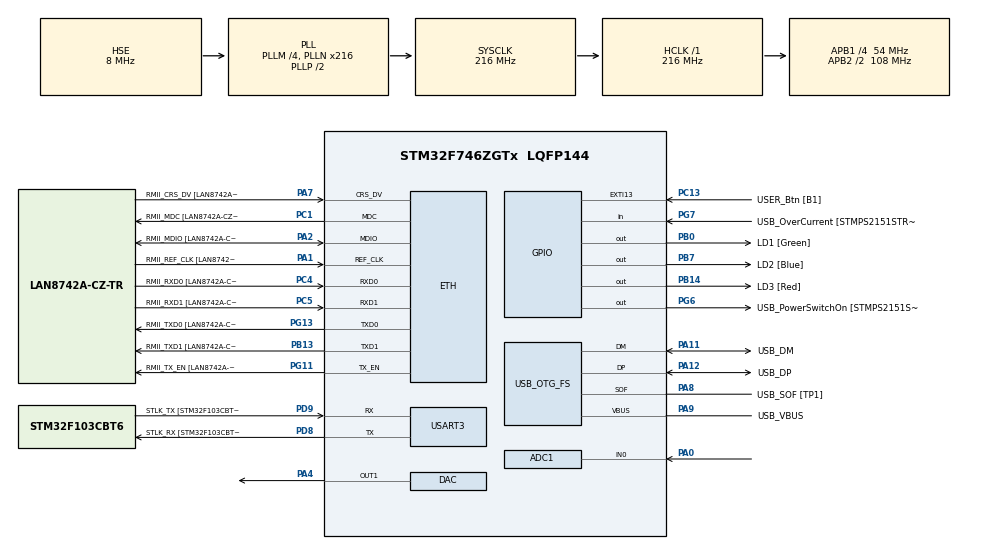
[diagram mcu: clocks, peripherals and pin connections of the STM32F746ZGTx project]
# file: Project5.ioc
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ADC1.Channel-0\#ChannelRegularConversion=ADC_CHANNEL_0
ADC1.NbrOfConversionFlag=1
ADC1.Rank-0\#ChannelRegularConversion=1
ADC1.SamplingTime-0\#ChannelRegularConversion=ADC_SAMPLETIME_3CYCLES
ADC1.master=1
ETH.MediaInterface=HAL_ETH_RMII_MODE
ETH.PHY_Name=LAN8742A_PHY_ADDRESS
ETH.PHY_Value=0
ETH.PhyAddress=0
Mcu.Family=STM32F7
Mcu.Name=STM32F746ZGTx
Mcu.Package=LQFP144
NVIC.EXTI15_10_IRQn=true\:0\:0\:false\:false\:true\:true\:true\:true
NVIC.PriorityGroup=NVIC_PRIORITYGROUP_4
NVIC.USART3_IRQn=true\:0\:0\:false\:false\:true\:true\:true\:true
PA0/WKUP.Signal=ADCx_IN0
PA1.GPIO_Label=RMII_REF_CLK [LAN8742A-CZ-TR_REFCLK0]
PA1.Mode=RMII
PA1.Signal=ETH_REF_CLK
PA10.GPIO_Label=USB_ID
PA10.Signal=USB_OTG_FS_ID
PA11.GPIO_Label=USB_DM
PA11.Mode=Device_Only
PA11.Signal=USB_OTG_FS_DM
PA12.GPIO_Label=USB_DP
PA12.Mode=Device_Only
PA12.Signal=USB_OTG_FS_DP
PA13.GPIO_Label=TMS
PA13.Mode=Serial_Wire
PA13.Signal=SYS_JTMS-SWDIO
PA14.GPIO_Label=TCK
PA14.Mode=Serial_Wire
PA14.Signal=SYS_JTCK-SWCLK
PA2.GPIO_Label=RMII_MDIO [LAN8742A-CZ-TR_MDIO]
PA2.Mode=RMII
PA2.Signal=ETH_MDIO
PA4.Signal=COMP_DAC1_group
PA7.GPIO_Label=RMII_CRS_DV [LAN8742A-CZ-TR_CRS_DV]
PA7.Mode=RMII
PA7.Signal=ETH_CRS_DV
PA8.GPIO_Label=USB_SOF [TP1]
PA8.Mode=Activate_SOF_FS
PA8.Signal=USB_OTG_FS_SOF
PA9.GPIO_Label=USB_VBUS
PA9.Mode=Activate_VBUS
PA9.Signal=USB_OTG_FS_VBUS
PB0.GPIO_Label=LD1 [Green]
PB0.Signal=GPIO_Output
PB13.GPIO_Label=RMII_TXD1 [LAN8742A-CZ-TR_TXD1]
PB13.Mode=RMII
PB13.Signal=ETH_TXD1
PB14.GPIO_Label=LD3 [Red]
PB14.Signal=GPIO_Output
PB3.GPIO_Label=SW0
PB3.Signal=SYS_JTDO-SWO
PB7.GPIO_Label=LD2 [Blue]
PB7.Signal=GPIO_Output
PC1.GPIO_Label=RMII_MDC [LAN8742A-CZ-TR_MDC]
PC1.Mode=RMII
PC1.Signal=ETH_MDC
PC13.GPIO_Label=USER_Btn [B1]
PC13.Signal=GPXTI13
PC14/OSC32_IN.Mode=LSE-External-Oscillator
PC14/OSC32_IN.Signal=RCC_OSC32_IN
PC15/OSC32_OUT.Mode=LSE-External-Oscillator
PC15/OSC32_OUT.Signal=RCC_OSC32_OUT
PC4.GPIO_Label=RMII_RXD0 [LAN8742A-CZ-TR_RXD0]
PC4.Mode=RMII
PC4.Signal=ETH_RXD0
PC5.GPIO_Label=RMII_RXD1 [LAN8742A-CZ-TR_RXD1]
PC5.Mode=RMII
PC5.Signal=ETH_RXD1
PD8.GPIO_Label=STLK_RX [STM32F103CBT6_PA3]
PD8.GPIO_PuPd=GPIO_PULLUP
PD8.Mode=Asynchronous
PD8.Signal=USART3_TX
PD9.GPIO_Label=STLK_TX [STM32F103CBT6_PA2]
PD9.GPIO_PuPd=GPIO_PULLUP
PD9.Mode=Asynchronous
PD9.Signal=USART3_RX
PG11.GPIO_Label=RMII_TX_EN [LAN8742A-CZ-TR_TXEN]
PG11.Mode=RMII
PG11.Signal=ETH_TX_EN
PG13.GPIO_Label=RMII_TXD0 [LAN8742A-CZ-TR_TXD0]
PG13.Mode=RMII
PG13.Signal=ETH_TXD0
PG6.GPIO_Label=USB_PowerSwitchOn [STMPS2151STR_EN]
PG6.Signal=GPIO_Output
PG7.GPIO_Label=USB_OverCurrent [STMPS2151STR_FAULT]
PG7.Signal=GPIO_Input
PH0/OSC_IN.GPIO_Label=MCO [STM32F103CBT6_PA8]
PH0/OSC_IN.Mode=HSE-External-Clock-Source
PH0/OSC_IN.Signal=RCC_OSC_IN
PH1/OSC_OUT.Mode=HSE-External-Clock-Source
PH1/OSC_OUT.Signal=RCC_OSC_OUT
ProjectManager.HeapSize=0x200
ProjectManager.StackSize=0x400
ProjectManager.TargetToolchain=STM32CubeIDE
RCC.48MHZClocksFreq_Value=24000000
RCC.AHBFreq_Value=216000000
RCC.APB1CLKDivider=RCC_HCLK_DIV4
RCC.APB1Freq_Value=54000000
RCC.APB1TimFreq_Value=108000000
RCC.APB2CLKDivider=RCC_HCLK_DIV2
RCC.APB2Freq_Value=108000000
RCC.APB2TimFreq_Value=216000000
RCC.CortexFreq_Value=216000000
RCC.HCLKFreq_Value=216000000
RCC.HSE_VALUE=8000000
RCC.HSI_VALUE=16000000
RCC.PLLM=4
RCC.PLLMUL=RCC_PLL_MUL9
RCC.PLLN=216
RCC.PLLQ=9
RCC.PRESCALERUSB=RCC_USBCLKSOURCE_PLL_DIV1_5
RCC.SYSCLKFreq_VALUE=216000000
RCC.SYSCLKSource=RCC_SYSCLKSOURCE_PLLCLK
RCC.SYSCLKSourceVirtual=RCC_SYSCLKSOURCE_PLLCLK
RCC.USBFreq_Value=48000000
RCC.VCOOutputFreq_Value=432000000
SH.ADCx_IN0.0=ADC1_IN0,IN0
SH.COMP_DAC1_group.0=DAC_OUT1,DAC_OUT1
USART3.VirtualMode-Asynchronous=VM_ASYNC
USB_OTG_FS.VirtualMode=Device_Only
board=NUCLEO-F746ZG

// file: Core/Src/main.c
/* USER CODE BEGIN Header */
/**
  ******************************************************************************
  * @file           : main.c
  * @brief          : Analog voltage DAC generator with UART input and ADC monitor
  ******************************************************************************
  * Project Description:
  *
  * This program is designed for the NUCLEO-F746ZG development board. It enables:
  *
  * ▶ CLOCK CONFIGURATION:
  *   - 8 MHz external HSE is used as PLL input.
  *   - SYSCLK = 216 MHz (PLL: M=4, N=216, P=2, Q=9)
  *   - APB1 = 54 MHz | APB2 = 108 MHz | USB clock = 48 MHz (from PLLQ)
  *   - OverDrive enabled for 216 MHz support.
  *
  * ▶ PERIPHERALS USED:
  *   - UART3 (PA8/PD9): For serial data exchange with PC (baud = 115200)
  *   - DAC (PA4): Outputs analog voltage received via UART (*value*)
  *   - ADC1 (PA0): Continuously samples DAC output for monitoring
  *   - GPIO: Controls RGB LEDs and monitors user button
  *
  * ▶ UART PROTOCOL:
  *   - Input format: *<float>*, e.g., *1.234*
  *   - Characters are received one at a time via interrupt
  *   - Start and end delimiters (*) define the valid message
  *   - Parsed float is converted to a 12-bit DAC value
  *
  * ▶ ADC MONITORING:
  *   - Continuously samples PA0 (connected to DAC OUT)
  *   - Averages 1024 readings and stores it in `avg`
  *
  * ▶ USER INTERACTION:
  *   - User button (B1): When pressed, sends current average voltage via UART
  *   - LED Feedback:
  *       - Blue (PB7): ON during DAC update
  *       - Red (PB14): ON when idle
  *       - Green (PB0): Blinks when button is pressed
  *
  * ▶ SYSTEM BEHAVIOR:
  *   1. Waits for UART float input wrapped in asterisks (*1.234*)
  *   2. Converts input to DAC output value
  *   3. Displays and monitors output voltage
  *   4. Sends average value when button is pressed
  *
  * This code combines real-time analog output control with serial-based input,
  * useful for PC-controlled analog simulation or DAC testing.
  *
  ******************************************************************************
  */

/* USER CODE END Header */
#include "main.h"
#include "string.h"

/* USER CODE BEGIN Includes */
#include <stdlib.h>
#include "stdbool.h"
#include "stdio.h"
/* USER CODE END Includes */

#if defined ( __ICCARM__ ) /*!< IAR Compiler */
#pragma location=0x2004c000
ETH_DMADescTypeDef  DMARxDscrTab[ETH_RX_DESC_CNT]; /* Ethernet Rx DMA Descriptors */
#pragma location=0x2004c0a0
ETH_DMADescTypeDef  DMATxDscrTab[ETH_TX_DESC_CNT]; /* Ethernet Tx DMA Descriptors */

#elif defined ( __CC_ARM )  /* MDK ARM Compiler */

__attribute__((at(0x2004c000))) ETH_DMADescTypeDef  DMARxDscrTab[ETH_RX_DESC_CNT]; /* Ethernet Rx DMA Descriptors */
__attribute__((at(0x2004c0a0))) ETH_DMADescTypeDef  DMATxDscrTab[ETH_TX_DESC_CNT]; /* Ethernet Tx DMA Descriptors */

#elif defined ( __GNUC__ ) /* GNU Compiler */

ETH_DMADescTypeDef DMARxDscrTab[ETH_RX_DESC_CNT] __attribute__((section(".RxDecripSection"))); /* Ethernet Rx DMA Descriptors */
ETH_DMADescTypeDef DMATxDscrTab[ETH_TX_DESC_CNT] __attribute__((section(".TxDecripSection")));   /* Ethernet Tx DMA Descriptors */
#endif

ETH_TxPacketConfig TxConfig;

ADC_HandleTypeDef hadc1;

DAC_HandleTypeDef hdac;

ETH_HandleTypeDef heth;

UART_HandleTypeDef huart3;

PCD_HandleTypeDef hpcd_USB_OTG_FS;

void SystemClock_Config(void);
static void MX_GPIO_Init(void);
static void MX_ETH_Init(void);
static void MX_USART3_UART_Init(void);
static void MX_USB_OTG_FS_PCD_Init(void);
static void MX_ADC1_Init(void);
static void MX_DAC_Init(void);

/* USER CODE BEGIN 0 */

float value;
float avg = 0;
uint32_t var;
char tx_buff[64];  // Increased buffer size for delimiter format
uint16_t readValue;
uint8_t rx_buff[8];  // Increased buffer size for *1.234* format
uint8_t rx_char;     // Single character reception buffer
char message_buffer[16];  // Buffer to accumulate complete message
uint8_t message_index = 0;  // Index for message buffer
uint8_t receiving_message = 0;  // Flag to indicate we're collecting a message
int rx_flag;
int button_flag;
float voltage;
/* USER CODE END 0 */

int main(void)
{

  /* MCU Configuration--------------------------------------------------------*/

  /* Reset of all peripherals, Initializes the Flash interface and the Systick. */
  HAL_Init();

  /* Configure the system clock */
  SystemClock_Config();

  /* Initialize all configured peripherals */
  MX_GPIO_Init();
  MX_ETH_Init();
  MX_USART3_UART_Init();
  MX_USB_OTG_FS_PCD_Init();
  MX_ADC1_Init();
  MX_DAC_Init();
  /* USER CODE BEGIN 2 */
HAL_DAC_Start(&hdac, DAC_CHANNEL_1);

 float tot = 0;
 short i = 0;
 float tot_arr[1024];
 static bool buffer_full = false;

   // Start receiving single characters
   HAL_UART_Receive_IT(&huart3, &rx_char, 1);
  /* USER CODE END 2 */

  /* Infinite loop */
  while (1)
  {

    /* USER CODE BEGIN 3 */

	  /*Wait for Receive Interrupt*/
if(rx_flag){
	  var = 4095.0f - (value / 3.3f) * 4095.0f;
	 			  HAL_GPIO_WritePin(GPIOB, GPIO_PIN_14, GPIO_PIN_RESET);//red OFF
	 			  HAL_GPIO_WritePin(GPIOB, GPIO_PIN_7, GPIO_PIN_SET); //blue ON
	 			  HAL_DAC_SetValue(&hdac, DAC_CHANNEL_1,DAC_ALIGN_12B_R,var);
	 		      HAL_Delay(100);

	 		      HAL_GPIO_WritePin(GPIOB, GPIO_PIN_14, GPIO_PIN_SET);//red ON
	 		      HAL_GPIO_WritePin(GPIOB, GPIO_PIN_7, GPIO_PIN_RESET); //blue OFF
	 		      rx_flag=0;
					}

/*Take VOLTAGE*/
	 		  	HAL_ADC_Start(&hadc1);
	 		  	HAL_ADC_PollForConversion(&hadc1, HAL_MAX_DELAY);

	 		  	readValue = HAL_ADC_GetValue(&hadc1);
	 		  	voltage = (readValue * 3.30) / 4096.00;

	 		   if (buffer_full) {
	 		  	  	 	 	tot -= tot_arr[i];
	 		  	  	 	 	 }

	 		  	  	 	 tot_arr[i] = voltage;
	 		  	  	 	 tot += voltage;

	 		  	  	 	 i++;
	 		  	  	 	 if (i >= 1024) {
	 		  	  	 	 	 i = 0;
	 		  	  	 	 	 buffer_full = true;
	 		  	  	 	 }

	 		  	  	 	 avg = tot / (buffer_full ? 1024.00 : (float)i);

/*GREEN ON WHEN BUTTON 1 PRESSED*/
  if(button_flag){

	  HAL_GPIO_WritePin(GPIOB, GPIO_PIN_0, GPIO_PIN_SET);
	  HAL_Delay(100);
	  HAL_GPIO_WritePin(GPIOB, GPIO_PIN_0, GPIO_PIN_RESET);
	  HAL_Delay(100);
	  button_flag=0;

  }

  }

  /* USER CODE END 3 */
}

void SystemClock_Config(void)
{
  RCC_OscInitTypeDef RCC_OscInitStruct = {0};
  RCC_ClkInitTypeDef RCC_ClkInitStruct = {0};

  /** Configure LSE Drive Capability
  */
  HAL_PWR_EnableBkUpAccess();

  /** Configure the main internal regulator output voltage
  */
  __HAL_RCC_PWR_CLK_ENABLE();
  __HAL_PWR_VOLTAGESCALING_CONFIG(PWR_REGULATOR_VOLTAGE_SCALE1);

  /** Initializes the RCC Oscillators according to the specified parameters
  * in the RCC_OscInitTypeDef structure.
  */
  RCC_OscInitStruct.OscillatorType = RCC_OSCILLATORTYPE_HSE;
  RCC_OscInitStruct.HSEState = RCC_HSE_BYPASS;
  RCC_OscInitStruct.PLL.PLLState = RCC_PLL_ON;
  RCC_OscInitStruct.PLL.PLLSource = RCC_PLLSOURCE_HSE;
  RCC_OscInitStruct.PLL.PLLM = 4;
  RCC_OscInitStruct.PLL.PLLN = 216;
  RCC_OscInitStruct.PLL.PLLP = RCC_PLLP_DIV2;
  RCC_OscInitStruct.PLL.PLLQ = 9;
  if (HAL_RCC_OscConfig(&RCC_OscInitStruct) != HAL_OK)
  {
    Error_Handler();
  }

  /** Activate the Over-Drive mode
  */
  if (HAL_PWREx_EnableOverDrive() != HAL_OK)
  {
    Error_Handler();
  }

  /** Initializes the CPU, AHB and APB buses clocks
  */
  RCC_ClkInitStruct.ClockType = RCC_CLOCKTYPE_HCLK|RCC_CLOCKTYPE_SYSCLK
                              |RCC_CLOCKTYPE_PCLK1|RCC_CLOCKTYPE_PCLK2;
  RCC_ClkInitStruct.SYSCLKSource = RCC_SYSCLKSOURCE_PLLCLK;
  RCC_ClkInitStruct.AHBCLKDivider = RCC_SYSCLK_DIV1;
  RCC_ClkInitStruct.APB1CLKDivider = RCC_HCLK_DIV4;
  RCC_ClkInitStruct.APB2CLKDivider = RCC_HCLK_DIV2;

  if (HAL_RCC_ClockConfig(&RCC_ClkInitStruct, FLASH_LATENCY_7) != HAL_OK)
  {
    Error_Handler();
  }
}

static void MX_ADC1_Init(void)
{

  ADC_ChannelConfTypeDef sConfig = {0};

  /** Configure the global features of the ADC (Clock, Resolution, Data Alignment and number of conversion)
  */
  hadc1.Instance = ADC1;
  hadc1.Init.ClockPrescaler = ADC_CLOCK_SYNC_PCLK_DIV4;
  hadc1.Init.Resolution = ADC_RESOLUTION_12B;
  hadc1.Init.ScanConvMode = ADC_SCAN_DISABLE;
  hadc1.Init.ContinuousConvMode = DISABLE;
  hadc1.Init.DiscontinuousConvMode = DISABLE;
  hadc1.Init.ExternalTrigConvEdge = ADC_EXTERNALTRIGCONVEDGE_NONE;
  hadc1.Init.ExternalTrigConv = ADC_SOFTWARE_START;
  hadc1.Init.DataAlign = ADC_DATAALIGN_RIGHT;
  hadc1.Init.NbrOfConversion = 1;
  hadc1.Init.DMAContinuousRequests = DISABLE;
  hadc1.Init.EOCSelection = ADC_EOC_SINGLE_CONV;
  if (HAL_ADC_Init(&hadc1) != HAL_OK)
  {
    Error_Handler();
  }

  /** Configure for the selected ADC regular channel its corresponding rank in the sequencer and its sample time.
  */
  sConfig.Channel = ADC_CHANNEL_0;
  sConfig.Rank = ADC_REGULAR_RANK_1;
  sConfig.SamplingTime = ADC_SAMPLETIME_3CYCLES;
  if (HAL_ADC_ConfigChannel(&hadc1, &sConfig) != HAL_OK)
  {
    Error_Handler();
  }

}

static void MX_DAC_Init(void)
{

  DAC_ChannelConfTypeDef sConfig = {0};

  /** DAC Initialization
  */
  hdac.Instance = DAC;
  if (HAL_DAC_Init(&hdac) != HAL_OK)
  {
    Error_Handler();
  }

  /** DAC channel OUT1 config
  */
  sConfig.DAC_Trigger = DAC_TRIGGER_NONE;
  sConfig.DAC_OutputBuffer = DAC_OUTPUTBUFFER_ENABLE;
  if (HAL_DAC_ConfigChannel(&hdac, &sConfig, DAC_CHANNEL_1) != HAL_OK)
  {
    Error_Handler();
  }

}

static void MX_ETH_Init(void)
{

   static uint8_t MACAddr[6];

  heth.Instance = ETH;
  MACAddr[0] = 0x00;
  MACAddr[1] = 0x80;
  MACAddr[2] = 0xE1;
  MACAddr[3] = 0x00;
  MACAddr[4] = 0x00;
  MACAddr[5] = 0x00;
  heth.Init.MACAddr = &MACAddr[0];
  heth.Init.MediaInterface = HAL_ETH_RMII_MODE;
  heth.Init.TxDesc = DMATxDscrTab;
  heth.Init.RxDesc = DMARxDscrTab;
  heth.Init.RxBuffLen = 1524;

  if (HAL_ETH_Init(&heth) != HAL_OK)
  {
    Error_Handler();
  }

  memset(&TxConfig, 0 , sizeof(ETH_TxPacketConfig));
  TxConfig.Attributes = ETH_TX_PACKETS_FEATURES_CSUM | ETH_TX_PACKETS_FEATURES_CRCPAD;
  TxConfig.ChecksumCtrl = ETH_CHECKSUM_IPHDR_PAYLOAD_INSERT_PHDR_CALC;
  TxConfig.CRCPadCtrl = ETH_CRC_PAD_INSERT;

}

static void MX_USART3_UART_Init(void)
{

  huart3.Instance = USART3;
  huart3.Init.BaudRate = 115200;
  huart3.Init.WordLength = UART_WORDLENGTH_8B;
  huart3.Init.StopBits = UART_STOPBITS_1;
  huart3.Init.Parity = UART_PARITY_NONE;
  huart3.Init.Mode = UART_MODE_TX_RX;
  huart3.Init.HwFlowCtl = UART_HWCONTROL_NONE;
  huart3.Init.OverSampling = UART_OVERSAMPLING_16;
  huart3.Init.OneBitSampling = UART_ONE_BIT_SAMPLE_DISABLE;
  huart3.AdvancedInit.AdvFeatureInit = UART_ADVFEATURE_NO_INIT;
  if (HAL_UART_Init(&huart3) != HAL_OK)
  {
    Error_Handler();
  }

}

static void MX_USB_OTG_FS_PCD_Init(void)
{

  hpcd_USB_OTG_FS.Instance = USB_OTG_FS;
  hpcd_USB_OTG_FS.Init.dev_endpoints = 6;
  hpcd_USB_OTG_FS.Init.speed = PCD_SPEED_FULL;
  hpcd_USB_OTG_FS.Init.dma_enable = DISABLE;
  hpcd_USB_OTG_FS.Init.phy_itface = PCD_PHY_EMBEDDED;
  hpcd_USB_OTG_FS.Init.Sof_enable = ENABLE;
  hpcd_USB_OTG_FS.Init.low_power_enable = DISABLE;
  hpcd_USB_OTG_FS.Init.lpm_enable = DISABLE;
  hpcd_USB_OTG_FS.Init.vbus_sensing_enable = ENABLE;
  hpcd_USB_OTG_FS.Init.use_dedicated_ep1 = DISABLE;
  if (HAL_PCD_Init(&hpcd_USB_OTG_FS) != HAL_OK)
  {
    Error_Handler();
  }

}

static void MX_GPIO_Init(void)
{
  GPIO_InitTypeDef GPIO_InitStruct = {0};

  /* GPIO Ports Clock Enable */
  __HAL_RCC_GPIOC_CLK_ENABLE();
  __HAL_RCC_GPIOH_CLK_ENABLE();
  __HAL_RCC_GPIOA_CLK_ENABLE();
  __HAL_RCC_GPIOB_CLK_ENABLE();
  __HAL_RCC_GPIOD_CLK_ENABLE();
  __HAL_RCC_GPIOG_CLK_ENABLE();

  /*Configure GPIO pin Output Level */
  HAL_GPIO_WritePin(GPIOB, LD1_Pin|LD3_Pin|LD2_Pin, GPIO_PIN_RESET);

  /*Configure GPIO pin Output Level */
  HAL_GPIO_WritePin(USB_PowerSwitchOn_GPIO_Port, USB_PowerSwitchOn_Pin, GPIO_PIN_RESET);

  /*Configure GPIO pin : USER_Btn_Pin */
  GPIO_InitStruct.Pin = USER_Btn_Pin;
  GPIO_InitStruct.Mode = GPIO_MODE_IT_RISING;
  GPIO_InitStruct.Pull = GPIO_NOPULL;
  HAL_GPIO_Init(USER_Btn_GPIO_Port, &GPIO_InitStruct);

  /*Configure GPIO pins : LD1_Pin LD3_Pin LD2_Pin */
  GPIO_InitStruct.Pin = LD1_Pin|LD3_Pin|LD2_Pin;
  GPIO_InitStruct.Mode = GPIO_MODE_OUTPUT_PP;
  GPIO_InitStruct.Pull = GPIO_NOPULL;
  GPIO_InitStruct.Speed = GPIO_SPEED_FREQ_LOW;
  HAL_GPIO_Init(GPIOB, &GPIO_InitStruct);

  /*Configure GPIO pin : USB_PowerSwitchOn_Pin */
  GPIO_InitStruct.Pin = USB_PowerSwitchOn_Pin;
  GPIO_InitStruct.Mode = GPIO_MODE_OUTPUT_PP;
  GPIO_InitStruct.Pull = GPIO_NOPULL;
  GPIO_InitStruct.Speed = GPIO_SPEED_FREQ_LOW;
  HAL_GPIO_Init(USB_PowerSwitchOn_GPIO_Port, &GPIO_InitStruct);

  /*Configure GPIO pin : USB_OverCurrent_Pin */
  GPIO_InitStruct.Pin = USB_OverCurrent_Pin;
  GPIO_InitStruct.Mode = GPIO_MODE_INPUT;
  GPIO_InitStruct.Pull = GPIO_NOPULL;
  HAL_GPIO_Init(USB_OverCurrent_GPIO_Port, &GPIO_InitStruct);

  /* EXTI interrupt init*/
  HAL_NVIC_SetPriority(EXTI15_10_IRQn, 0, 0);
  HAL_NVIC_EnableIRQ(EXTI15_10_IRQn);

}

/* USER CODE BEGIN 4 */

float value = 0.0f;

void HAL_UART_RxCpltCallback(UART_HandleTypeDef *huart) {
    if (huart->Instance == USART3) {

        // Check if received character is '*'
        if (rx_char == '*') {
            if (receiving_message == 0) {
                // Start of message - begin collecting
                receiving_message = 1;
                message_index = 0;
                memset(message_buffer, 0, sizeof(message_buffer));
            } else {
                // End of message - process it
                receiving_message = 0;
                message_buffer[message_index] = '\0';  // Null terminate

                // Check if we have exactly 5 characters (e.g., "1.234")
                if (message_index == 5) {
                    // Validate that it's a proper floating point number
                    int valid = 1;
                    int dot_count = 0;

                    for (int i = 0; i < message_index; i++) {
                        if (message_buffer[i] == '.') {
                            dot_count++;
                            if (dot_count > 1) {
                                valid = 0;
                                break;
                            }
                        } else if (message_buffer[i] < '0' || message_buffer[i] > '9') {
                            valid = 0;
                            break;
                        }
                    }

                    if (valid && dot_count == 1) {
                        value = atof(message_buffer);
                        rx_flag = 1;
                    }
                }

                // Reset for next message
                message_index = 0;
                memset(message_buffer, 0, sizeof(message_buffer));
            }
        } else if (receiving_message == 1) {
            // Collect characters only when we're in message mode
            if (message_index < sizeof(message_buffer) - 1) {
                message_buffer[message_index] = rx_char;
                message_index++;
            } else {
                // Buffer overflow, reset everything
                receiving_message = 0;
                message_index = 0;
                memset(message_buffer, 0, sizeof(message_buffer));
            }
        }
        // If we're not receiving a message and char is not '*', ignore it

        // Continue receiving next character
        HAL_UART_Receive_IT(&huart3, &rx_char, 1);
    }
}

void HAL_GPIO_EXTI_Callback(uint16_t GPIO_Pin){
    if(GPIO_Pin == USER_Btn_Pin){
        button_flag=1;
        // Send voltage reading with delimiter format
        sprintf(tx_buff,"\nVoltage : %.3f \r\n", avg);
        HAL_UART_Transmit(&huart3, (uint8_t*)tx_buff, strlen(tx_buff), HAL_MAX_DELAY);
    }
}

/* USER CODE END 4 */

void Error_Handler(void)
{
  __disable_irq();
  while (1)
  {
  }
}
